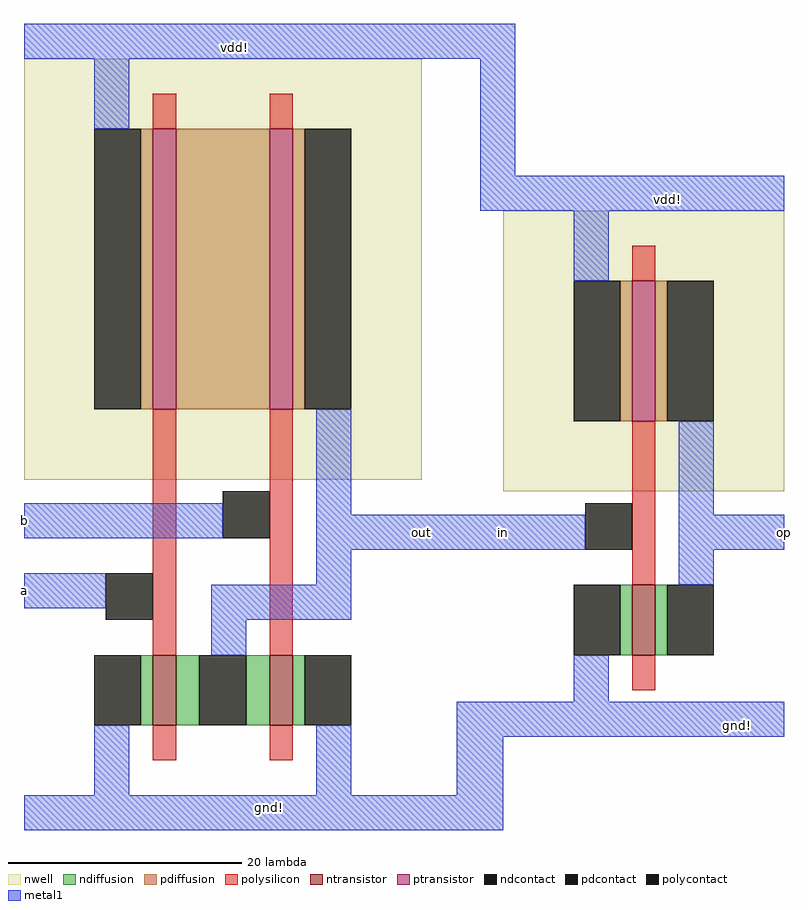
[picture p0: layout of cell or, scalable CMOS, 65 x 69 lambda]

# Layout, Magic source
magic
tech scmos
<< nwell >>
rect 0 0 34 36
rect 41 -1 65 23
<< polysilicon >>
rect 11 30 13 33
rect 21 30 23 33
rect 52 17 54 20
rect 11 -15 13 6
rect 21 -15 23 6
rect 52 -9 54 5
rect 52 -18 54 -15
rect 11 -24 13 -21
rect 21 -24 23 -21
<< ndiffusion >>
rect 51 -15 52 -9
rect 54 -15 55 -9
rect 10 -21 11 -15
rect 13 -21 15 -15
rect 19 -21 21 -15
rect 23 -21 24 -15
<< pdiffusion >>
rect 10 6 11 30
rect 13 6 21 30
rect 23 6 24 30
rect 51 5 52 17
rect 54 5 55 17
<< metal1 >>
rect 0 36 42 39
rect 6 30 9 36
rect 39 26 42 36
rect 39 23 65 26
rect 0 -5 17 -2
rect 25 -3 28 6
rect 47 17 50 23
rect 25 -6 48 -3
rect 56 -3 59 5
rect 56 -6 65 -3
rect 0 -11 7 -8
rect 25 -9 28 -6
rect 56 -9 59 -6
rect 16 -12 28 -9
rect 16 -15 19 -12
rect 47 -19 50 -15
rect 6 -27 9 -21
rect 25 -27 28 -21
rect 37 -22 65 -19
rect 37 -27 41 -22
rect 0 -30 41 -27
<< ntransistor >>
rect 52 -15 54 -9
rect 11 -21 13 -15
rect 21 -21 23 -15
<< ptransistor >>
rect 11 6 13 30
rect 21 6 23 30
rect 52 5 54 17
<< polycontact >>
rect 7 -12 11 -8
rect 17 -5 21 -1
rect 48 -6 52 -2
<< ndcontact >>
rect 47 -15 51 -9
rect 55 -15 59 -9
rect 6 -21 10 -15
rect 15 -21 19 -15
rect 24 -21 28 -15
<< pdcontact >>
rect 6 6 10 30
rect 24 6 28 30
rect 47 5 51 17
rect 55 5 59 17
<< labels >>
rlabel metal1 18 37 18 37 5 vdd!
rlabel metal1 34 -6 34 -3 7 out
rlabel metal1 21 -28 21 -28 1 gnd!
rlabel metal1 0 -5 0 -2 3 b
rlabel metal1 0 -11 0 -8 3 a
rlabel metal1 55 24 55 24 5 vdd!
rlabel metal1 61 -21 61 -21 1 gnd!
rlabel metal1 65 -6 65 -3 7 op
rlabel metal1 41 -6 41 -3 3 in
<< end >>
